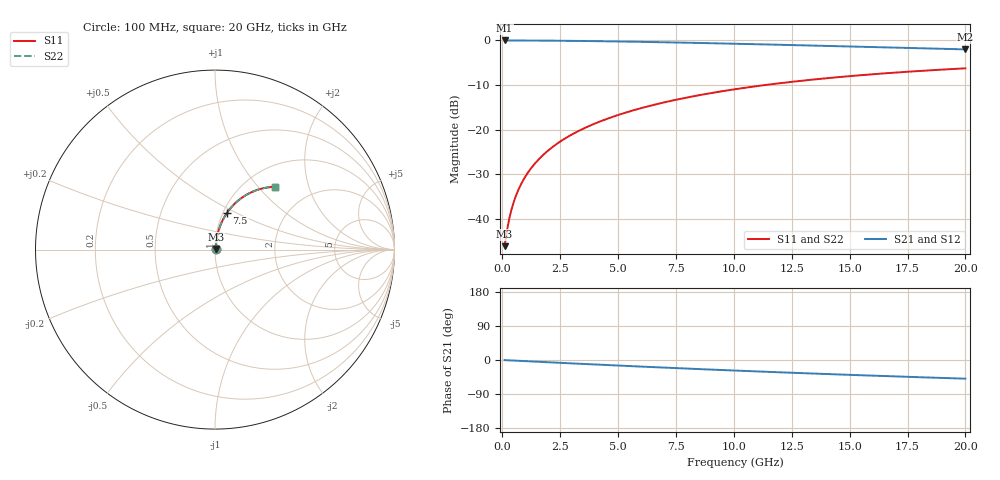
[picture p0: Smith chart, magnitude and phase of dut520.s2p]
! Touchstone file exported from HFSS 2024.1.0
!  File:  C:/UserFiles/LocalFiles/RDL_TSV_Batchsim/temp_RDL_top_520_1779679763.aedt
!  Generated:  11:31:51 AM May 25, 2026
!  Design:  RDL_top
!  Project:  temp_RDL_top_520_1779679763
!  Setup:  Setup1
!  Solution:  Sweep
! Variables:
!  dtsv = 10.80580581um
!  hbump = 3um
!  htsv = 83.94um
!  ldown = 100um
!  lrdl = 670.87um
!  p = 40
!  p1 = 52.82um
!  rhole = 1um
!  t = 450um
!  tdown = 3.915915916um
!  trdl = 3.94um
!  wdown = 15.38538539um
!  wrdl = 16.03um
# GHz S MA R 50.000000
! Terminal data exported
! Port[1] = Box2_T1
! Port[2] = Box2_T2
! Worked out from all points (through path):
!   200 points, 100 MHz to 20 GHz, reference 50 ohm
!   highest |S21| = -0.03 dB at 100 MHz (marker M1); lowest = -2.0 dB at 20 GHz (marker M2)
!   group delay of S21, straight-line fit = 6.83 ps
!   lowest |S11| = -46.1 dB at 100 MHz (marker M3), VSWR 1.01, Z = 50.4 + j0.311 ohm
!   |S11| at or under -10 dB: start of sweep to 11.38 GHz
!   |S22| runs from -46.1 to -6.3 dB; largest |S21 - S12| = 6e-15
!   S11 on the Smith chart (normalised r, x): 100 MHz: 1.01, +0.01; 7.5 GHz: 1.04, +0.45; 20 GHz: 1.36, +1.24
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0.1  0.004949 38.6  0.9961 -0.3  0.9961 -0.3  0.004949 38.6
! Gamma 0 0 0 0
! Port Impedance 50 0 50 0
0.2  0.007318 56.8  0.996 -0.6  0.996 -0.6  0.007318 56.8
0.3  0.01002 65.4  0.9958 -0.9  0.9958 -0.9  0.01002 65.4
0.4  0.0128 70.1  0.9956 -1.2  0.9956 -1.2  0.0128 70.1
0.5  0.01562 73.1  0.9955 -1.5  0.9955 -1.5  0.01562 73.1
0.6  0.01846 75.1  0.9953 -1.8  0.9953 -1.8  0.01846 75.1
0.8  0.02416 77.7  0.9949 -2.4  0.9949 -2.4  0.02416 77.7
1.1  0.03279 79.7  0.9942 -3.3  0.9942 -3.3  0.03279 79.7
1.5  0.04437 80.8  0.993 -4.5  0.993 -4.5  0.04437 80.8
1.8  0.05308 81.1  0.9919 -5.4  0.9919 -5.4  0.05308 81.1
2.1  0.0618 81.1  0.9907 -6.3  0.9907 -6.3  0.0618 81.1
2.7  0.07924 80.7  0.9876 -8.1  0.9876 -8.1  0.07924 80.7
3.5  0.1025 79.7  0.9826 -10.4  0.9826 -10.4  0.1024 79.7
4.2  0.1227 78.5  0.9774 -12.4  0.9774 -12.4  0.1227 78.5
5  0.1456 77.0  0.9707 -14.7  0.9707 -14.7  0.1456 77.0
5.9  0.1712 75.3  0.9622 -17.1  0.9622 -17.1  0.1712 75.3
6.8  0.1965 73.4  0.953 -19.6  0.953 -19.6  0.1964 73.4
7.5  0.2158 71.9  0.9454 -21.4  0.9454 -21.4  0.2158 71.9
10.1  0.2845 66.2  0.9149 -28.0  0.9149 -28.0  0.2845 66.2
13.4  0.363 59.1  0.8734 -35.7  0.8734 -35.7  0.3629 59.1
16.7  0.43 52.4  0.8316 -42.8  0.8316 -42.8  0.4299 52.3
20  0.4856 46.1  0.7914 -49.3  0.7914 -49.3  0.4855 46.1
